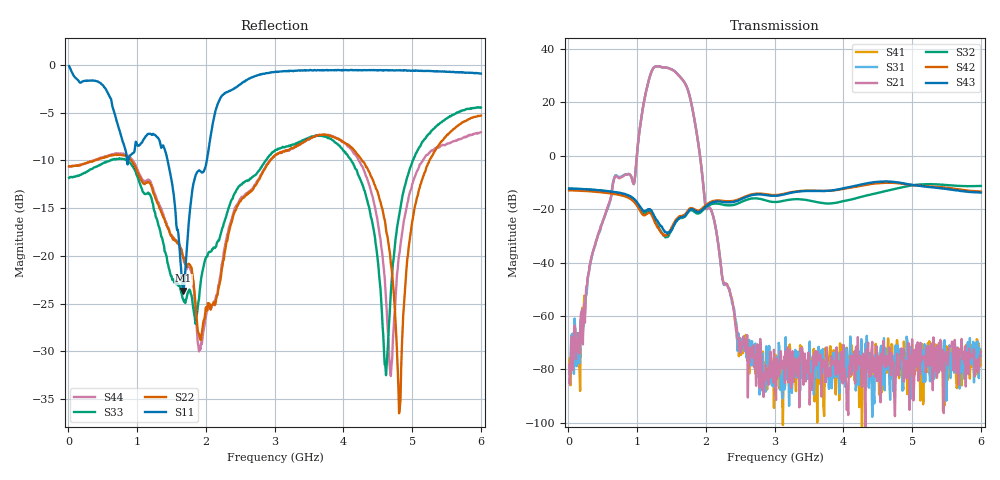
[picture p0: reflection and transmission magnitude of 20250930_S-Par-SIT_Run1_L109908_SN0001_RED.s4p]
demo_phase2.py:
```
"""Demonstration of Phase 2 RF Data Processing with real S4P files."""

from pathlib import Path
from src.core.rf_data.touchstone_loader import TouchstoneLoader
from src.core.rf_data.s_parameter_calculator import SParameterCalculator

def demo_phase2():
    """Demonstrate RF data processing with real files."""
    
    print("=" * 80)
    print("RF Performance Tool - Phase 2 Demonstration")
    print("=" * 80)
    print()
    
    loader = TouchstoneLoader()
    calculator = SParameterCalculator()
    
    # Load the two S4P files
    pri_file = Path("tests/data/20250930_S-Par-SIT_Run1_L109908_SN0001_PRI.s4p")
    red_file = Path("tests/data/20250930_S-Par-SIT_Run1_L109908_SN0001_RED.s4p")
    
    print("Loading Files:")
    print("-" * 80)
    
    # Parse and load PRI file
    pri_network, pri_metadata = loader.load_with_metadata(pri_file)
    print(f"File 1: {pri_file.name}")
    print(f"  - Serial Number: {pri_metadata['serial_number']}")
    print(f"  - Part Number: {pri_metadata['part_number']}")
    print(f"  - Path Type: {pri_metadata['path_type']}")
    print(f"  - Temperature: {pri_metadata['temperature']}")
    print(f"  - Date: {pri_metadata['date']}")
    print(f"  - Network Ports: {pri_network.nports}")
    print(f"  - Frequency Points: {len(pri_network.f)}")
    print(f"  - Frequency Range: {pri_network.f[0]/1e9:.3f} - {pri_network.f[-1]/1e9:.3f} GHz")
    print()
    
    # Parse and load RED file
    red_network, red_metadata = loader.load_with_metadata(red_file)
    print(f"File 2: {red_file.name}")
    print(f"  - Serial Number: {red_metadata['serial_number']}")
    print(f"  - Part Number: {red_metadata['part_number']}")
    print(f"  - Path Type: {red_metadata['path_type']}")
    print(f"  - Temperature: {red_metadata['temperature']}")
    print(f"  - Date: {red_metadata['date']}")
    print(f"  - Network Ports: {red_network.nports}")
    print(f"  - Frequency Points: {len(red_network.f)}")
    print(f"  - Frequency Range: {red_network.f[0]/1e9:.3f} - {red_network.f[-1]/1e9:.3f} GHz")
    print()
    
    # Available S-parameters
    print("Available S-Parameters:")
    print("-" * 80)
    pri_s_params = calculator.get_available_s_params(pri_network)
    print(f"  PRI: {', '.join(pri_s_params)}")
    red_s_params = calculator.get_available_s_params(red_network)
    print(f"  RED: {', '.join(red_s_params)}")
    print()
    
    # Define operational frequency range (example: 0.5-2.0 GHz)
    op_freq_min = 0.5  # GHz
    op_freq_max = 2.0  # GHz
    
    print("=" * 80)
    print("S-Parameter Calculations")
    print("=" * 80)
    print()
    print(f"Operational Frequency Range: {op_freq_min} - {op_freq_max} GHz")
    print()
    
    # Test calculations for each S-parameter
    for s_param in ["S21", "S31", "S41"]:
        if s_param not in pri_s_params:
            continue
            
        print(f"S-Parameter: {s_param}")
        print("-" * 80)
        
        # PRI calculations
        print("  PRI Path:")
        pri_min_gain, pri_max_gain = calculator.calculate_gain_range(
            pri_network, op_freq_min, op_freq_max, s_param
        )
        pri_flatness = calculator.calculate_flatness(
            pri_network, op_freq_min, op_freq_max, s_param
        )
        pri_lowest = calculator.calculate_lowest_in_band_gain(
            pri_network, op_freq_min, op_freq_max, s_param
        )
        
        print(f"    Gain Range: {pri_min_gain:.2f} to {pri_max_gain:.2f} dB")
        print(f"    Gain Flatness (max - min): {pri_flatness:.2f} dB")
        print(f"    Lowest In-Band Gain: {pri_lowest:.2f} dB")
        
        # RED calculations
        print("  RED Path:")
        red_min_gain, red_max_gain = calculator.calculate_gain_range(
            red_network, op_freq_min, op_freq_max, s_param
        )
        red_flatness = calculator.calculate_flatness(
            red_network, op_freq_min, op_freq_max, s_param
        )
        red_lowest = calculator.calculate_lowest_in_band_gain(
            red_network, op_freq_min, op_freq_max, s_param
        )
        
        print(f"    Gain Range: {red_min_gain:.2f} to {red_max_gain:.2f} dB")
        print(f"    Gain Flatness (max - min): {red_flatness:.2f} dB")
        print(f"    Lowest In-Band Gain: {red_lowest:.2f} dB")
        print()
        
        # OOB rejection examples
        print(f"  OOB Rejection (relative to lowest in-band gain):")
        oob_freqs = [0.2, 3.0, 4.0]  # Example OOB frequencies
        for oob_freq in oob_freqs:
            pri_oob = calculator.calculate_oob_rejection(
                pri_network, oob_freq, op_freq_min, op_freq_max, s_param
            )
            red_oob = calculator.calculate_oob_rejection(
                red_network, oob_freq, op_freq_min, op_freq_max, s_param
            )
            print(f"    {oob_freq} GHz:")
            print(f"      PRI: {pri_oob:.2f} dBc")
            print(f"      RED: {red_oob:.2f} dBc")
        print()
    
    # VSWR calculations
    print("=" * 80)
    print("VSWR Calculations")
    print("=" * 80)
    print()
    
    for port in [1, 2]:
        pri_vswr = calculator.calculate_vswr(
            pri_network, port=port, freq_min=op_freq_min, freq_max=op_freq_max
        )
        red_vswr = calculator.calculate_vswr(
            red_network, port=port, freq_min=op_freq_min, freq_max=op_freq_max
        )
        print(f"Port {port} (Max VSWR over {op_freq_min}-{op_freq_max} GHz):")
        print(f"  PRI: {pri_vswr:.2f}")
        print(f"  RED: {red_vswr:.2f}")
        print()
    
    print("=" * 80)
    print("Example Compliance Evaluation")
    print("=" * 80)
    print()
    print("Example Criteria for S21:")
    print("  - Gain Range: 27.5 to 31.3 dB")
    print("  - Gain Flatness: <= 2.3 dB")
    print("  - VSWR Port 1: <= 2.0")
    print()
    
    s_param = "S21"
    
    # PRI evaluation
    print("PRI Path Evaluation:")
    pri_min, pri_max = calculator.calculate_gain_range(
        pri_network, op_freq_min, op_freq_max, s_param
    )
    pri_flat = calculator.calculate_flatness(
        pri_network, op_freq_min, op_freq_max, s_param
    )
    pri_vswr = calculator.calculate_vswr(
        pri_network, port=1, freq_min=op_freq_min, freq_max=op_freq_max
    )
    
    gain_pass = 27.5 <= pri_min and pri_max <= 31.3
    flat_pass = pri_flat <= 2.3
    vswr_pass = pri_vswr <= 2.0
    
    print(f"  Gain Range: {pri_min:.2f} to {pri_max:.2f} dB")
    print(f"    Criteria: 27.5 to 31.3 dB")
    print(f"    Result: {'PASS' if gain_pass else 'FAIL'}")
    print()
    print(f"  Gain Flatness: {pri_flat:.2f} dB")
    print(f"    Criteria: <= 2.3 dB")
    print(f"    Result: {'PASS' if flat_pass else 'FAIL'}")
    print()
    print(f"  VSWR Port 1: {pri_vswr:.2f}")
    print(f"    Criteria: <= 2.0")
    print(f"    Result: {'PASS' if vswr_pass else 'FAIL'}")
    print()
    
    # RED evaluation
    print("RED Path Evaluation:")
    red_min, red_max = calculator.calculate_gain_range(
        red_network, op_freq_min, op_freq_max, s_param
    )
    red_flat = calculator.calculate_flatness(
        red_network, op_freq_min, op_freq_max, s_param
    )
    red_vswr = calculator.calculate_vswr(
        red_network, port=1, freq_min=op_freq_min, freq_max=op_freq_max
    )
    
    gain_pass = 27.5 <= red_min and red_max <= 31.3
    flat_pass = red_flat <= 2.3
    vswr_pass = red_vswr <= 2.0
    
    print(f"  Gain Range: {red_min:.2f} to {red_max:.2f} dB")
    print(f"    Criteria: 27.5 to 31.3 dB")
    print(f"    Result: {'PASS' if gain_pass else 'FAIL'}")
    print()
    print(f"  Gain Flatness: {red_flat:.2f} dB")
    print(f"    Criteria: <= 2.3 dB")
    print(f"    Result: {'PASS' if flat_pass else 'FAIL'}")
    print()
    print(f"  VSWR Port 1: {red_vswr:.2f}")
    print(f"    Criteria: <= 2.0")
    print(f"    Result: {'PASS' if vswr_pass else 'FAIL'}")
    print()
    
    print("=" * 80)
    print("Demonstration Complete")
    print("=" * 80)

if __name__ == "__main__":
    demo_phase2()
```
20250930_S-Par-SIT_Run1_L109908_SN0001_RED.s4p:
!Keysight Technologies,P5024B,MY61400385,A.19.30.21
!Date: Tuesday, September 30, 2025 12:57:03
!Correction: S11(C  4-Port  )
!S12(C  4-Port  )
!S13(C  4-Port  )
!S14(C  4-Port  )
!S21(C  4-Port  )
!S22(C  4-Port  )
!S23(C  4-Port  )
!S24(C  4-Port  )
!S31(C  4-Port  )
!S32(C  4-Port  )
!S33(C  4-Port  )
!S34(C  4-Port  )
!S41(C  4-Port  )
!S42(C  4-Port  )
!S43(C  4-Port  )
!S44(C  4-Port  )
!S4P File: Measurements: <S11,S12,S13,S14>,
!<S21,S22,S23,S24>,
!<S31,S32,S33,S34>,
!<S41,S42,S43,S44>:
# Hz S  dB  R 50
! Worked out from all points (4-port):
!   600 points, 10 MHz to 6 GHz, reference 50 ohm
!   strongest paths, dB at 10 MHz, 1.51 GHz, 3.01 GHz, 4.51 GHz, 6 GHz:
!     S43: -12.3, -27.3, -15.0, -9.7, -13.8
!     S42: -13.0, -26.5, -14.7, -10.3, -13.4
!     S32: -12.3, -27.6, -17.4, -13.9, -11.3
!     S21: -78.3, 32.2, -86.3, -77.1, -73.5
!     S31: -81.2, 32.3, -76.7, -78.3, -75.0
!     S41: -78.8, 32.2, -74.4, -75.2, -72.6
!   lowest |S11| = -23.6 dB at 1.67 GHz (marker M1), VSWR 1.14, Z = 50.7 + j6.6 ohm
!   |S11| at or under -10 dB: 852.6 MHz to 871.4 MHz (18.85 MHz wide, 2.19 % of centre); 1.442 GHz to 2.013 GHz (570.6 MHz wide, 33 % of centre)
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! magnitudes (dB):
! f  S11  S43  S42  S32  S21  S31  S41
! 10 MHz  -0.1  -12.3  -13.0  -12.3  -78.3  -81.2  -78.8
! 1.67 GHz  -23.6  -22.9  -22.3  -23.1  28.1  28.1  28.1
! 6 GHz  -0.9  -13.8  -13.4  -11.3  -73.5  -75.0  -72.6
